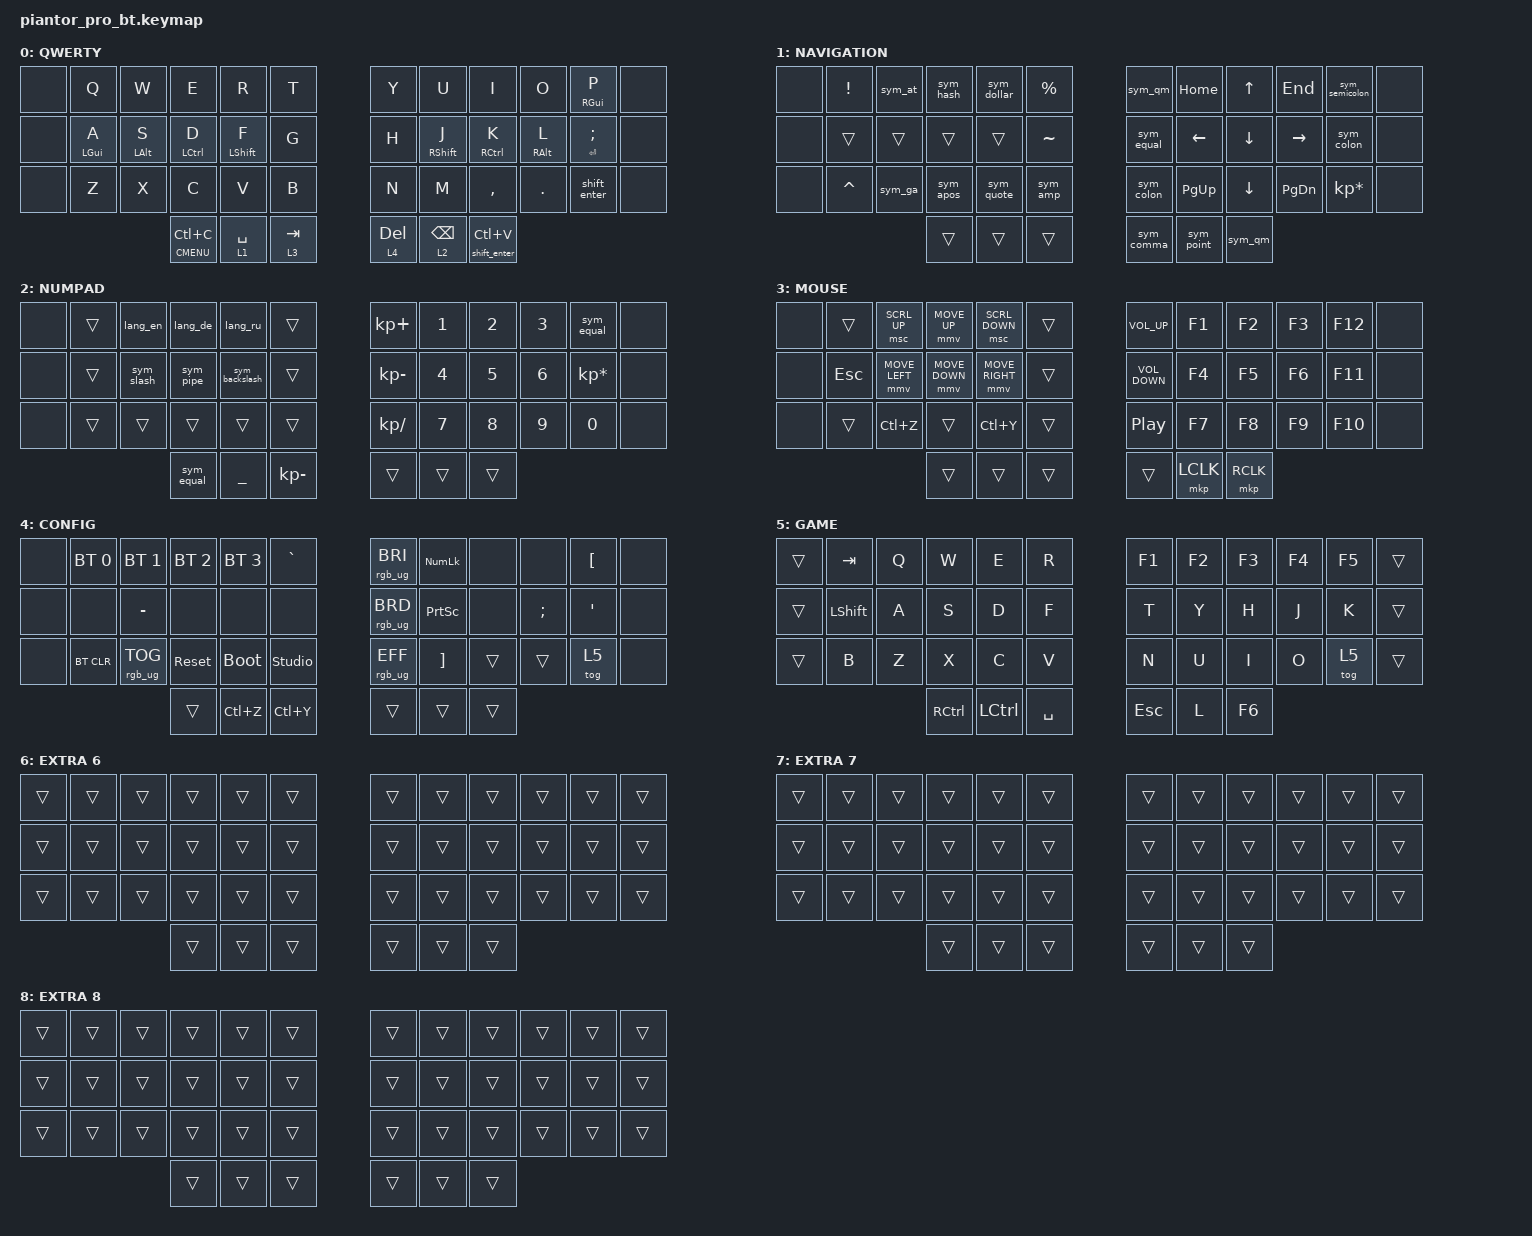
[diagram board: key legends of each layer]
/*
 * Copyright (c) 2020 The ZMK Contributors
 *
 * SPDX-License-Identifier: MIT
 */

#include <behaviors.dtsi>
#include <dt-bindings/zmk/bt.h>
#include <dt-bindings/zmk/keys.h>
#include <dt-bindings/zmk/rgb.h>

#define ZMK_POINTING_DEFAULT_MOVE_VAL 1500  // default: 600
#define ZMK_POINTING_DEFAULT_SCRL_VAL 20    // default: 10
#include <dt-bindings/zmk/pointing.h>

/ {
    chosen {
        zmk,physical-layout = &default_layout;
    };
};

/ {
    macros {
        lang_en: lang_en {
            compatible = "zmk,behavior-macro";
            #binding-cells = <0>;
            bindings =
                <&macro_press>,
                <&kp LALT>,
                <&macro_press>,
                <&kp LSHFT>,
                <&macro_tap>,
                <&kp N8>,
                <&macro_release>,
                <&kp LSHFT>,
                <&macro_release>,
                <&kp LEFT_ALT>;

            label = "LANG_EN";
        };

        lang_de: lang_de {
            compatible = "zmk,behavior-macro";
            #binding-cells = <0>;
            bindings =
                <&macro_press>,
                <&kp LALT>,
                <&macro_press>,
                <&kp LSHFT>,
                <&macro_tap>,
                <&kp N9>,
                <&macro_release>,
                <&kp LSHFT>,
                <&macro_release>,
                <&kp LEFT_ALT>;

            label = "LANG_DE";
        };

        lang_ru: lang_ru {
            compatible = "zmk,behavior-macro";
            #binding-cells = <0>;
            bindings =
                <&macro_press>,
                <&kp LALT>,
                <&macro_press>,
                <&kp LSHFT>,
                <&macro_tap>,
                <&kp N0>,
                <&macro_release>,
                <&kp LSHFT>,
                <&macro_release>,
                <&kp LEFT_ALT>;

            label = "LANG_RU";
        };

        sym_at: sym_at {
            compatible = "zmk,behavior-macro";
            #binding-cells = <0>;
            bindings =
                <&macro_press>,
                <&kp LALT>,
                <&macro_tap>,
                <&kp KP_NUMBER_6 &kp KP_NUMBER_4>,
                <&macro_release>,
                <&kp LALT>;

            label = "SYM_AT";
        };

        sym_hash: sym_hash {
            compatible = "zmk,behavior-macro";
            #binding-cells = <0>;
            bindings =
                <&macro_press>,
                <&kp LALT>,
                <&macro_tap>,
                <&kp KP_NUMBER_3 &kp KP_NUMBER_5>,
                <&macro_release>,
                <&kp LALT>;

            label = "SYM_HASH";
        };

        sym_dollar: sym_dollar {
            compatible = "zmk,behavior-macro";
            #binding-cells = <0>;
            bindings =
                <&macro_press>,
                <&kp LALT>,
                <&macro_tap>,
                <&kp KP_NUMBER_3 &kp KP_NUMBER_6>,
                <&macro_release>,
                <&kp LALT>;

            label = "SYM_DOLLAR";
        };

        sym_ga: sym_apostrophe {
            compatible = "zmk,behavior-macro";
            #binding-cells = <0>;
            bindings =
                <&macro_press>,
                <&kp LALT>,
                <&macro_tap>,
                <&kp KP_NUMBER_9 &kp KP_NUMBER_6>,
                <&macro_release>,
                <&kp LALT>;

            label = "SYM_APOSTROPHE";
        };

        sym_quote: sym_quote {
            compatible = "zmk,behavior-macro";
            #binding-cells = <0>;
            bindings =
                <&macro_press>,
                <&kp LALT>,
                <&macro_tap>,
                <&kp KP_NUMBER_3 &kp KP_NUMBER_4>,
                <&macro_release>,
                <&kp LALT>;

            label = "SYM_QUOTE";
        };

        sym_amp: sym_amp {
            compatible = "zmk,behavior-macro";
            #binding-cells = <0>;
            bindings =
                <&macro_press>,
                <&kp LALT>,
                <&macro_tap>,
                <&kp KP_NUMBER_3 &kp KP_NUMBER_8>,
                <&macro_release>,
                <&kp LALT>;

            label = "SYM_AMP";
        };

        sym_qm: sym_qm {
            compatible = "zmk,behavior-macro";
            #binding-cells = <0>;
            bindings =
                <&macro_press>,
                <&kp LALT>,
                <&macro_tap>,
                <&kp KP_NUMBER_6 &kp KP_NUMBER_3>,
                <&macro_release>,
                <&kp LALT>;

            label = "SYM_QM";
        };

        sym_colon: sym_colon {
            compatible = "zmk,behavior-macro";
            #binding-cells = <0>;
            bindings =
                <&macro_press>,
                <&kp LALT>,
                <&macro_tap>,
                <&kp KP_NUMBER_5 &kp KP_NUMBER_8>,
                <&macro_release>,
                <&kp LALT>;

            label = "SYM_COLON";
        };

        sym_semicolon: sym_semicolon {
            compatible = "zmk,behavior-macro";
            #binding-cells = <0>;
            bindings =
                <&macro_press>,
                <&kp LALT>,
                <&macro_tap>,
                <&kp KP_NUMBER_5 &kp KP_NUMBER_9>,
                <&macro_release>,
                <&kp LALT>;

            label = "SYM_SEMICOLON";
        };

        sym_apos: sym_apos {
            compatible = "zmk,behavior-macro";
            #binding-cells = <0>;
            bindings =
                <&macro_press>,
                <&kp LALT>,
                <&macro_tap>,
                <&kp KP_NUMBER_3 &kp KP_NUMBER_9>,
                <&macro_release>,
                <&kp LALT>;

            label = "SYM_APOS";
        };

        sym_pipe: sym_pipe {
            compatible = "zmk,behavior-macro";
            #binding-cells = <0>;
            bindings =
                <&macro_press>,
                <&kp LALT>,
                <&macro_tap>,
                <&kp KP_NUMBER_1 &kp KP_NUMBER_2 &kp KP_NUMBER_4>,
                <&macro_release>,
                <&kp LALT>;

            label = "SYM_PIPE";
        };

        sym_comma: sym_comma {
            compatible = "zmk,behavior-macro";
            #binding-cells = <0>;
            bindings =
                <&macro_press>,
                <&kp LALT>,
                <&macro_tap>,
                <&kp KP_NUMBER_4 &kp KP_NUMBER_4>,
                <&macro_release>,
                <&kp LALT>;

            label = "SYM_COMMA";
        };

        sym_point: sym_point {
            compatible = "zmk,behavior-macro";
            #binding-cells = <0>;
            bindings =
                <&macro_press>,
                <&kp LALT>,
                <&macro_tap>,
                <&kp KP_NUMBER_4 &kp KP_NUMBER_6>,
                <&macro_release>,
                <&kp LALT>;

            label = "SYM_POINT";
        };

        sym_rclick: sym_rclick {
            compatible = "zmk,behavior-macro";
            #binding-cells = <0>;
            bindings =
                <&mkp RCLK>;

            label = "SYM_RCLICK";
        };

        sym_left_square_bracket: sym_left_square_bracket {
            compatible = "zmk,behavior-macro";
            #binding-cells = <0>;
            bindings =
                <&macro_press>,
                <&kp LALT>,
                <&macro_tap>,
                <&kp KP_NUMBER_9 &kp KP_NUMBER_1>,
                <&macro_release>,
                <&kp LALT>;
            label = "SYM_L_S_B";
        };

        sym_right_square_bracket: sym_right_square_bracket {
            compatible = "zmk,behavior-macro";
            #binding-cells = <0>;
            bindings =
                <&macro_press>,
                <&kp LALT>,
                <&macro_tap>,
                <&kp KP_NUMBER_9 &kp KP_NUMBER_3>,
                <&macro_release>,
                <&kp LALT>;
            label = "SYM_R_S_B";
        };

        sym_left_curve_bracket: sym_left_curve_bracket {
            compatible = "zmk,behavior-macro";
            #binding-cells = <0>;
            bindings =
                <&macro_press>,
                <&kp LALT>,
                <&macro_tap>,
                <&kp KP_NUMBER_1 &kp KP_NUMBER_2 &kp KP_NUMBER_3>,
                <&macro_release>,
                <&kp LALT>;
            label = "SYM_L_C_B";
        };

        sym_right_curve_bracket: sym_right_curve_bracket {
            compatible = "zmk,behavior-macro";
            #binding-cells = <0>;
            bindings =
                <&macro_press>,
                <&kp LALT>,
                <&macro_tap>,
                <&kp KP_NUMBER_1 &kp KP_NUMBER_2 &kp KP_NUMBER_5>,
                <&macro_release>,
                <&kp LALT>;
            label = "SYM_R_C_B";
        };

        sym_left_round_bracket: sym_left_round_bracket {
            compatible = "zmk,behavior-macro";
            #binding-cells = <0>;
            bindings =
                <&macro_press>,
                <&kp LALT>,
                <&macro_tap>,
                <&kp KP_NUMBER_4 &kp KP_NUMBER_0>,
                <&macro_release>,
                <&kp LALT>;
            label = "SYM_L_R_B";
        };

        sym_right_round_bracket: sym_right_round_bracket {
            compatible = "zmk,behavior-macro";
            #binding-cells = <0>;
            bindings =
                <&macro_press>,
                <&kp LALT>,
                <&macro_tap>,
                <&kp KP_NUMBER_4 &kp KP_NUMBER_1>,
                <&macro_release>,
                <&kp LALT>;
            label = "SYM_R_R_B";
        };

        sym_left_angle_bracket: sym_left_angle_bracket {
            compatible = "zmk,behavior-macro";
            #binding-cells = <0>;
            bindings =
                <&macro_press>,
                <&kp LALT>,
                <&macro_tap>,
                <&kp KP_NUMBER_6 &kp KP_NUMBER_0>,
                <&macro_release>,
                <&kp LALT>;
            label = "SYM_L_A_B";
        };

        sym_right_angle_bracket: sym_right_angle_bracket {
            compatible = "zmk,behavior-macro";
            #binding-cells = <0>;
            bindings =
                <&macro_press>,
                <&kp LALT>,
                <&macro_tap>,
                <&kp KP_NUMBER_6 &kp KP_NUMBER_2>,
                <&macro_release>,
                <&kp LALT>;
            label = "SYM_R_A_B";
        };

        shift_enter: shift_enter {
            compatible = "zmk,behavior-macro";
            #binding-cells = <0>;
            bindings
                = <&macro_press &kp LSHFT>
                , <&macro_tap &kp ENTER>
                , <&macro_release &kp LSHFT>
                ;
    
            label = "SHIFT_ENTER";
        };

        sym_slash: sym_slash {
            compatible = "zmk,behavior-macro";
            #binding-cells = <0>;
            bindings =
                <&macro_press>,
                <&kp LALT>,
                <&macro_tap>,
                <&kp KP_NUMBER_4 &kp KP_NUMBER_7>,
                <&macro_release>,
                <&kp LALT>;

            label = "SYM_SLASH";
        };

        sym_backslash: sym_backslash {
            compatible = "zmk,behavior-macro";
            #binding-cells = <0>;
            bindings =
                <&macro_press>,
                <&kp LALT>,
                <&macro_tap>,
                <&kp KP_NUMBER_9 &kp KP_NUMBER_2>,
                <&macro_release>,
                <&kp LALT>;

            label = "SYM_BACKSLASH";
        };

        sym_equal: sym_equal {
            compatible = "zmk,behavior-macro";
            #binding-cells = <0>;
            bindings =
                <&macro_press>,
                <&kp LALT>,
                <&macro_tap>,
                <&kp KP_NUMBER_6 &kp KP_NUMBER_1>,
                <&macro_release>,
                <&kp LALT>;

            label = "SYM_EQUAL";
        };
    };

    combos {
        compatible = "zmk,combos";

        cmb_left_parenthesis {
            bindings = <&sym_left_round_bracket>;
            key-positions = <28 27>;
        };

        cmb_right_parenthesis {
            bindings = <&sym_right_round_bracket>;
            key-positions = <31 32>;
        };

        cmb_left_brace {
            bindings = <&sym_left_square_bracket>;
            key-positions = <4 3>;
        };

        cmb_right_brace {
            bindings = <&sym_right_square_bracket>;
            key-positions = <7 8>;
        };

        cmb_less_than {
            bindings = <&sym_left_curve_bracket>;
            key-positions = <2 3>;
        };

        cmb_greater_than {
            bindings = <&sym_right_curve_bracket>;
            key-positions = <8 9>;
        };

        cmb_comma {
            bindings = <&sym_left_angle_bracket>;
            key-positions = <26 27>;
        };

        cmb_point {
            bindings = <&sym_right_angle_bracket>;
            key-positions = <33 32>;
        };
    };

    behaviors {
        se_paste: shift_enter_paste {
            compatible = "zmk,behavior-hold-tap";
            #binding-cells = <2>;
            flavor = "hold-preferred";
            tapping-term-ms = <200>;
            bindings = <&shift_enter>, <&kp>;
            display-name = "ShiftEnter/Paste";
        };
    };

    keymap {
        compatible = "zmk,keymap";

        default_layer {
            display-name = "QWERTY";
            bindings = <
                &none  &kp Q            &kp W                 &kp E           &kp R                   &kp T           &kp Y               &kp U         &kp I       &kp O       &mt RIGHT_GUI P       &none  
                &none  &mt LEFT_GUI A   &mt LALT S            &mt LCTRL D     &mt LSHFT F             &kp G           &kp H               &mt RSHFT J   &mt RCTRL K &mt RALT L  &mt ENTER SEMI        &none  
                &none  &kp Z            &kp X                 &kp C           &kp V                   &kp B           &kp N               &kp M         &kp COMMA   &kp DOT     &shift_enter          &none  
                                        &mt K_CMENU LC(C)     &lt 1 SPACE     &lt 3 TAB               &lt 4 DELETE    &lt 2 BSPC          &se_paste 0 LC(V)          
            >;
        };

        navigation_layer {
            display-name = "NAVIGATION";
            bindings = <
                &none  &kp EXCL     &sym_at     &sym_hash   &sym_dollar &kp PRCNT           &sym_qm         &kp HOME        &kp UP_ARROW    &kp END             &sym_semicolon     &none  
                &none  &trans       &trans      &trans      &trans      &kp TILDE           &sym_equal      &kp LEFT_ARROW  &kp DOWN_ARROW  &kp RIGHT_ARROW     &sym_colon         &none  
                &none  &kp CARET    &sym_ga     &sym_apos   &sym_quote  &sym_amp            &sym_colon      &kp PAGE_UP     &kp DOWN_ARROW  &kp PAGE_DOWN       &kp KP_ASTERISK    &none  
                                                &trans      &trans      &trans              &sym_comma      &sym_point      &sym_qm
            >;
        };

        num_pad_layer {
            display-name = "NUMPAD";
            bindings = <
                &none   &trans  &lang_en        &lang_de       &lang_ru          &trans                  &kp KP_PLUS     &kp N1  &kp N2  &kp N3  &sym_equal          &none   
                &none   &trans  &sym_slash      &sym_pipe      &sym_backslash    &trans                  &kp KP_MINUS    &kp N4  &kp N5  &kp N6  &kp KP_ASTERISK     &none   
                &none   &trans  &trans          &trans         &trans            &trans                  &kp KP_SLASH    &kp N7  &kp N8  &kp N9  &kp N0              &none   
                                                &sym_equal     &kp UNDER         &kp KP_MINUS            &trans          &trans  &trans
            >;
        };

        mouse_layer {
            display-name = "MOUSE";
            bindings = <
                &none   &trans      &msc SCRL_UP    &mmv MOVE_UP    &msc SCRL_DOWN  &trans          &kp C_VOLUME_UP     &kp F1      &kp F2      &kp F3  &kp F12  &none   
                &none   &kp ESCAPE  &mmv MOVE_LEFT  &mmv MOVE_DOWN  &mmv MOVE_RIGHT &trans          &kp C_VOLUME_DOWN   &kp F4      &kp F5      &kp F6  &kp F11  &none   
                &none   &trans      &kp LC(Z)       &trans          &kp LC(Y)       &trans          &kp C_PLAY_PAUSE    &kp F7      &kp F8      &kp F9  &kp F10  &none   
                                                    &trans          &trans          &trans          &trans              &mkp LCLK   &mkp RCLK      
            >;
        };

        config_layer {
            display-name = "CONFIG";
            bindings = <
                &none  &bt BT_SEL 0     &bt BT_SEL 1        &bt BT_SEL 2    &bt BT_SEL 3    &kp GRAVE               &rgb_ug RGB_BRI     &kp KP_NUM          &none   &none       &kp LEFT_BRACKET    &none  
                &none  &none            &kp MINUS           &none           &none           &none                   &rgb_ug RGB_BRD     &kp PRINTSCREEN     &none   &kp SEMI    &kp SINGLE_QUOTE    &none  
                &none  &bt BT_CLR       &rgb_ug RGB_TOG     &sys_reset      &bootloader     &studio_unlock          &rgb_ug RGB_EFF     &kp RIGHT_BRACKET   &trans  &trans      &tog 5              &none  
                                                            &trans          &kp  LC(Z)      &kp LC(Y)               &trans              &trans              &trans       
            >;
        };

        game_layer {
            display-name = "GAME";
            bindings = <
                &trans   &kp TAB    &kp Q    &kp W      &kp E       &kp R             &kp F1       &kp F2    &kp F3    &kp F4    &kp F5    &trans
                &trans   &kp LSHFT  &kp A    &kp S      &kp D       &kp F             &kp T        &kp Y     &kp H     &kp J     &kp K     &trans
                &trans   &kp B      &kp Z    &kp X      &kp C       &kp V             &kp N        &kp U     &kp I     &kp O     &tog 5    &trans
                                             &kp RCTRL  &kp LCTRL   &kp SPACE         &kp ESCAPE   &kp L     &kp F6       
            >;
        };

        extra_layer_6 {
            display-name = "EXTRA 6";
            bindings = <
                &trans &trans &trans &trans &trans &trans  &trans &trans &trans &trans &trans &trans
                &trans &trans &trans &trans &trans &trans  &trans &trans &trans &trans &trans &trans
                &trans &trans &trans &trans &trans &trans  &trans &trans &trans &trans &trans &trans
                                     &trans &trans &trans  &trans &trans &trans       
            >;
        };

        extra_layer_7 {
            display-name = "EXTRA 7";
            bindings = <
                &trans &trans &trans &trans &trans &trans  &trans &trans &trans &trans &trans &trans
                &trans &trans &trans &trans &trans &trans  &trans &trans &trans &trans &trans &trans
                &trans &trans &trans &trans &trans &trans  &trans &trans &trans &trans &trans &trans
                                     &trans &trans &trans  &trans &trans &trans       
            >;
        };

        extra_layer_8 {
            display-name = "EXTRA 8";
            bindings = <
                &trans &trans &trans &trans &trans &trans  &trans &trans &trans &trans &trans &trans
                &trans &trans &trans &trans &trans &trans  &trans &trans &trans &trans &trans &trans
                &trans &trans &trans &trans &trans &trans  &trans &trans &trans &trans &trans &trans
                                     &trans &trans &trans  &trans &trans &trans       
            >;
        };
    };
};
